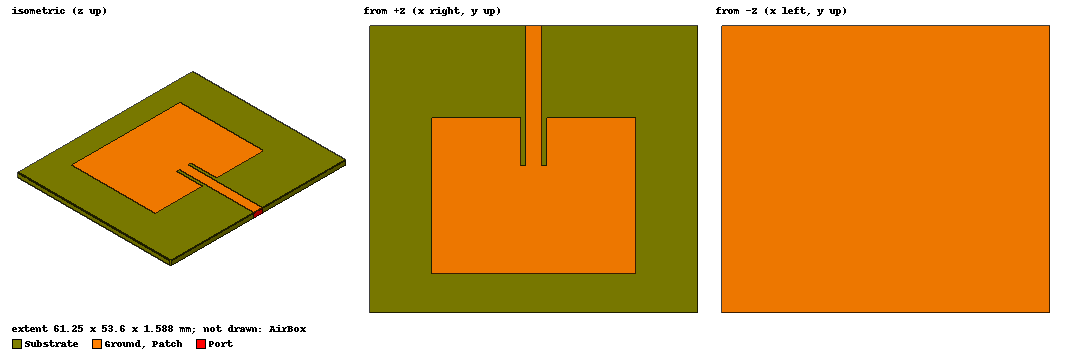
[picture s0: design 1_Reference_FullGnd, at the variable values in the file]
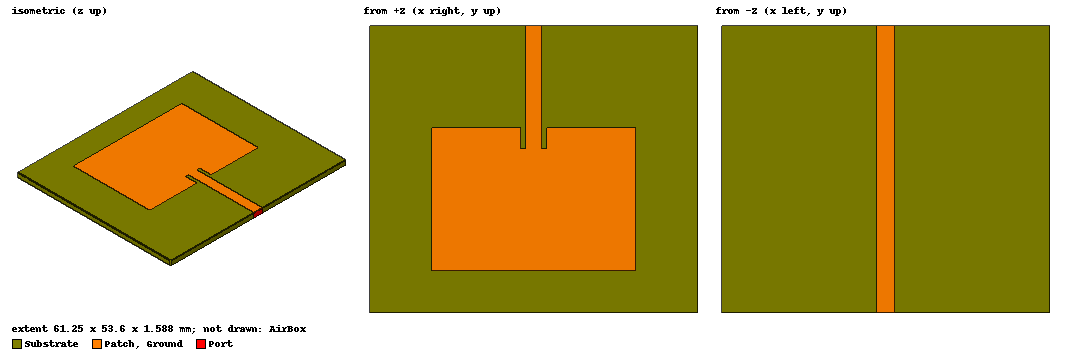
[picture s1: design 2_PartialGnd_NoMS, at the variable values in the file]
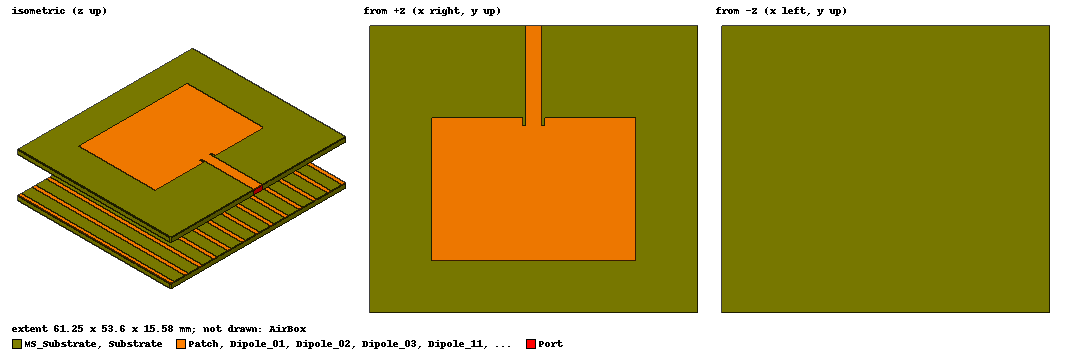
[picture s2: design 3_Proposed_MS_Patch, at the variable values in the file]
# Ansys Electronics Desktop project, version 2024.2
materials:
  vacuum: permittivity=1
  FR4_epoxy: permittivity=4.4 dielectric_loss_tangent=0.02

design 1_Reference_FullGnd (HFSS, HFSS Hybrid Modal Network, model units mm)
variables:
  sub_w = 61.25mm
  sub_l = 53.6mm
  h_sub = 1.588mm
  patch_w = 38mm
  patch_l = 29.3mm
  feed_w = 3mm
  feed_l = 17.1mm
  inset_depth = 9mm
  inset_gap = 1mm
  gnd_w = 3.2mm
  ms_gap = 12.4mm
  ms_h = 1.588mm
  y_port = 31.75mm
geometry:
  Substrate [FR4_epoxy] = box(corner=(-sub_w/2, y_port - sub_l, 0mm), size=(sub_w, sub_l, h_sub))
  Ground = rectangle(corner=(-sub_w/2, y_port - sub_l, 0mm), x_size=sub_w, y_size=sub_l)
  Patch = polyline(z=h_sub, xy: (-feed_w/2, y_port) (-feed_w/2, y_port - feed_l - inset_depth) (-feed_w/2 - inset_gap, y_port - feed_l - inset_depth) (-feed_w/2 - inset_gap, y_port - feed_l) (-patch_w/2, y_port - feed_l) (-patch_w/2, y_port - feed_l - patch_l) (patch_w/2, y_port - feed_l - patch_l) (patch_w/2, y_port - feed_l) (feed_w/2 + inset_gap, y_port - feed_l) (feed_w/2 + inset_gap, y_port - feed_l - inset_depth) (feed_w/2, y_port - feed_l - inset_depth) (feed_w/2, y_port) (-feed_w/2, y_port), closed, covered)
  Port = polyline(y=y_port, xz: (-feed_w/2, 0mm) (feed_w/2, 0mm) (feed_w/2, h_sub) (-feed_w/2, h_sub) (-feed_w/2, 0mm), closed, covered)
  AirBox [vacuum] = box(corner=(-61.85338mm, -53.07838mm, -31.22838mm), size=(123.70676mm, 116.05676mm, 64.04476mm))
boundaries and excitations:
  PerfE_Patch: Perfect E Objects=Patch
  PerfE_Ground: Perfect E Objects=Ground
  Rad1: Radiation Objects=AirBox
  1: Lumped Port Objects=Port LumpedPortType=Modal Modes{Mode1{IntLine{(0, 31.75, 0) -> (0, 31.75, 1.588)} CharImp=Zpi RenormImp=50ohm}} Impedance=50ohm
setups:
  Setup1: HfssDriven Frequency=2.4GHz MaxDeltaS=0.02 MaximumPasses=15 MinimumPasses=1 MinimumConvergedPasses=1 PercentRefinement=30 BasisOrder=1 PortAccuracy=2 DrivenSolverType="Direct Solver"
    sweep Sweep1: 1GHz to 4GHz step 0.01GHz; Type=Interpolating InterpTolerance=0.5 InterpMaxSolns=250 InterpUsePortImped=false
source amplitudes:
  1:1: 1W 0deg
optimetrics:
  Sweep_Feed_Length: Parametric Sim._Setups=[Setup1]
    sweep feed_l: LIN 13.1mm 21.1mm 1mm
  Sweep_Inset_Depth: Parametric Sim._Setups=[Setup1]
    sweep inset_depth: LIN 0.5mm 5.5mm 1mm
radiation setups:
  Infinite Sphere1: Infinite Sphere Theta=-180deg..180deg step 2deg Phi=-180deg..180deg step 2deg
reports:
  S11: dB(S(1,1)) vs Freq on Setup1 : Sweep1; markers m1 at 2.39GHz
  S11_Optimetrics_Curves: dB(S(1,1)) vs Freq on Setup1 : Sweep1 [feed_l=all inset_depth=all]
  VSWR: VSWR(1) vs Freq on Setup1 : Sweep1
  Gain vs Theta: dB(GainTotal) vs Theta on Setup1 : LastAdaptive, Infinite Sphere1 [Phi=0deg,90deg Freq=2.4GHz]; markers m1 at 0deg
  Antenna Params Table: dB10(PeakDirectivity), dB10(PeakGain), dB10(PeakRealizedGain), RadiationEfficiency, TotalEfficiency vs Freq on Setup1 : LastAdaptive [Freq=2.4GHz]

design 2_PartialGnd_NoMS (HFSS, HFSS Hybrid Modal Network, model units mm)
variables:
  sub_w = 61.25mm
  sub_l = 53.6mm
  h_sub = 1.588mm
  patch_w = 38mm
  patch_l = 26.8mm
  feed_w = 3mm
  feed_l = 19mm
  inset_depth = 4mm
  inset_gap = 1mm
  gnd_w = 3.2mm
  ms_gap = 12.4mm
  ms_h = 1.588mm
  y_port = 32.4mm
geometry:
  Substrate [FR4_epoxy] = box(corner=(-sub_w/2, y_port - sub_l, 0mm), size=(sub_w, sub_l, h_sub))
  Ground = rectangle(corner=(-gnd_w/2, y_port - sub_l, 0mm), x_size=gnd_w, y_size=sub_l)
  Patch = polyline(z=h_sub, xy: (-feed_w/2, y_port) (-feed_w/2, y_port - feed_l - inset_depth) (-feed_w/2 - inset_gap, y_port - feed_l - inset_depth) (-feed_w/2 - inset_gap, y_port - feed_l) (-patch_w/2, y_port - feed_l) (-patch_w/2, y_port - feed_l - patch_l) (patch_w/2, y_port - feed_l - patch_l) (patch_w/2, y_port - feed_l) (feed_w/2 + inset_gap, y_port - feed_l) (feed_w/2 + inset_gap, y_port - feed_l - inset_depth) (feed_w/2, y_port - feed_l - inset_depth) (feed_w/2, y_port) (-feed_w/2, y_port), closed, covered)
  Port = polyline(y=y_port, xz: (-feed_w/2, 0mm) (feed_w/2, 0mm) (feed_w/2, h_sub) (-feed_w/2, h_sub) (-feed_w/2, 0mm), closed, covered)
  AirBox [vacuum] = box(corner=(-61.85338mm, -52.42838mm, -31.22838mm), size=(123.70676mm, 116.05676mm, 64.04476mm))
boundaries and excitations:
  PerfE_Patch: Perfect E Objects=Patch
  PerfE_Ground: Perfect E Objects=Ground
  Rad1: Radiation Objects=AirBox
  1: Lumped Port Objects=Port LumpedPortType=Modal Modes{Mode1{IntLine{(0, 32.4, 0) -> (0, 32.4, 1.588)} CharImp=Zpi RenormImp=50ohm}} Impedance=50ohm
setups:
  Setup1: HfssDriven Frequency=2.4GHz MaxDeltaS=0.02 MaximumPasses=15 MinimumPasses=1 MinimumConvergedPasses=1 PercentRefinement=30 BasisOrder=1 PortAccuracy=2 DrivenSolverType="Direct Solver"
    sweep Sweep1: 1GHz to 4GHz step 0.01GHz; Type=Interpolating InterpTolerance=0.5 InterpMaxSolns=250 InterpUsePortImped=false
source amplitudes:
  1:1: 1W 0deg
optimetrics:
  Sweep_Feed_Length: Parametric Sim._Setups=[Setup1]
    sweep feed_l: LIN 13.1mm 21.1mm 1mm
  Sweep_Inset_Depth: Parametric Sim._Setups=[Setup1]
    sweep inset_depth: LIN 0.5mm 5.5mm 1mm
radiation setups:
  Infinite Sphere1: Infinite Sphere Theta=-180deg..180deg step 2deg Phi=-180deg..180deg step 2deg
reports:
  S11: dB(S(1,1)) vs Freq on Setup1 : Sweep1; markers m1 at 2.65GHz
  S11_Optimetrics_Curves: dB(S(1,1)) vs Freq on Setup1 : Sweep1 [feed_l=all inset_depth=all]
  VSWR: VSWR(1) vs Freq on Setup1 : Sweep1
  Gain vs Theta: dB(GainTotal) vs Theta on Setup1 : LastAdaptive, Infinite Sphere1 [Phi=0deg,90deg Freq=2.4GHz]; markers m1 at 0deg
  Antenna Params Table: dB10(PeakDirectivity), dB10(PeakGain), dB10(PeakRealizedGain), RadiationEfficiency, TotalEfficiency vs Freq on Setup1 : LastAdaptive [Freq=2.4GHz]

design 3_Proposed_MS_Patch (HFSS, HFSS Hybrid Modal Network, model units mm)
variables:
  sub_w = 61.25mm
  sub_l = 53.6mm
  h_sub = 1.588mm
  patch_w = 38mm
  patch_l = 26.8mm
  feed_w = 3mm
  feed_l = 17.1mm
  inset_depth = 1.5mm
  inset_gap = 0.5mm
  gnd_w = 3.2mm
  ms_gap = 12.4mm
  ms_h = 1.588mm
  y_port = 30.5mm
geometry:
  Substrate [FR4_epoxy] = box(corner=(-sub_w/2, y_port - sub_l, 0mm), size=(sub_w, sub_l, h_sub))
  Ground = rectangle(corner=(-gnd_w/2, y_port - sub_l, 0mm), x_size=gnd_w, y_size=sub_l)
  Patch = polyline(z=h_sub, xy: (-feed_w/2, y_port) (-feed_w/2, y_port - feed_l - inset_depth) (-feed_w/2 - inset_gap, y_port - feed_l - inset_depth) (-feed_w/2 - inset_gap, y_port - feed_l) (-patch_w/2, y_port - feed_l) (-patch_w/2, y_port - feed_l - patch_l) (patch_w/2, y_port - feed_l - patch_l) (patch_w/2, y_port - feed_l) (feed_w/2 + inset_gap, y_port - feed_l) (feed_w/2 + inset_gap, y_port - feed_l - inset_depth) (feed_w/2, y_port - feed_l - inset_depth) (feed_w/2, y_port) (-feed_w/2, y_port), closed, covered)
  MS_Substrate [FR4_epoxy] = box(corner=(-sub_w/2, y_port - sub_l, -ms_gap - ms_h), size=(sub_w, sub_l, ms_h))
  Dipole_01 = rectangle(corner=(-30.625mm, y_port - sub_l, -ms_gap), x_size=1.25mm, y_size=sub_l)
  Dipole_02 = rectangle(corner=(-25.625mm, y_port - sub_l, -ms_gap), x_size=1.25mm, y_size=sub_l)
  Dipole_03 = rectangle(corner=(-20.625mm, y_port - sub_l, -ms_gap), x_size=1.25mm, y_size=sub_l)
  Dipole_04 = rectangle(corner=(-15.625mm, y_port - sub_l, -ms_gap), x_size=1.25mm, y_size=sub_l)
  Dipole_05 = rectangle(corner=(-10.625mm, y_port - sub_l, -ms_gap), x_size=1.25mm, y_size=sub_l)
  Dipole_06 = rectangle(corner=(-5.625mm, y_port - sub_l, -ms_gap), x_size=1.25mm, y_size=sub_l)
  Dipole_07 = rectangle(corner=(-0.625mm, y_port - sub_l, -ms_gap), x_size=1.25mm, y_size=sub_l)
  Dipole_08 = rectangle(corner=(4.375mm, y_port - sub_l, -ms_gap), x_size=1.25mm, y_size=sub_l)
  Dipole_09 = rectangle(corner=(9.375mm, y_port - sub_l, -ms_gap), x_size=1.25mm, y_size=sub_l)
  Dipole_10 = rectangle(corner=(14.375mm, y_port - sub_l, -ms_gap), x_size=1.25mm, y_size=sub_l)
  Dipole_11 = rectangle(corner=(19.375mm, y_port - sub_l, -ms_gap), x_size=1.25mm, y_size=sub_l)
  Dipole_12 = rectangle(corner=(24.375mm, y_port - sub_l, -ms_gap), x_size=1.25mm, y_size=sub_l)
  Dipole_13 = rectangle(corner=(29.375mm, y_port - sub_l, -ms_gap), x_size=1.25mm, y_size=sub_l)
  Port = polyline(y=y_port, xz: (-feed_w/2, 0mm) (feed_w/2, 0mm) (feed_w/2, h_sub) (-feed_w/2, h_sub) (-feed_w/2, 0mm), closed, covered)
  AirBox [vacuum] = box(corner=(-61.85338mm, -54.32838mm, -45.21638mm), size=(123.70676mm, 116.05676mm, 78.03276mm))
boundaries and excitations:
  PerfE_Patch: Perfect E Objects=Patch
  PerfE_Ground: Perfect E Objects=Ground
  PerfE_MS: Perfect E Objects=[Dipole_01, Dipole_02, Dipole_03, Dipole_04, Dipole_05, Dipole_06, Dipole_07, Dipole_08, Dipole_09, Dipole_10..Dipole_13]
  Rad1: Radiation Objects=AirBox
  1: Lumped Port Objects=Port LumpedPortType=Modal Modes{Mode1{IntLine{(0, 30.5, 0) -> (0, 30.5, 1.588)} CharImp=Zpi RenormImp=50ohm}} Impedance=50ohm
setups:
  Setup1: HfssDriven Frequency=2.4GHz MaxDeltaS=0.02 MaximumPasses=15 MinimumPasses=1 MinimumConvergedPasses=1 PercentRefinement=30 BasisOrder=1 PortAccuracy=2 DrivenSolverType="Direct Solver"
    sweep Sweep1: 1GHz to 4GHz step 0.01GHz; Type=Interpolating InterpTolerance=0.5 InterpMaxSolns=250 InterpUsePortImped=false
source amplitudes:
  1:1: 1W 0deg
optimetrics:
  Sweep_Feed_Length: Parametric Sim._Setups=[Setup1]
    sweep feed_l: LIN 13.1mm 21.1mm 1mm
  Sweep_Inset_Depth: Parametric Sim._Setups=[Setup1]
    sweep inset_depth: LIN 0.5mm 5.5mm 1mm
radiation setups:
  Infinite Sphere1: Infinite Sphere Theta=-180deg..180deg step 2deg Phi=-180deg..180deg step 2deg
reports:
  S11: dB(S(1,1)) vs Freq on Setup1 : Sweep1; markers m1 at 2.38GHz, MY1 at y=-10.0452
  S11_Optimetrics_Curves: dB(S(1,1)) vs Freq on Setup1 : Sweep1 [feed_l=all inset_depth=all]
  VSWR: VSWR(1) vs Freq on Setup1 : Sweep1
  Gain vs Theta: dB(GainTotal) vs Theta on Setup1 : LastAdaptive, Infinite Sphere1 [Phi=0deg,90deg Freq=2.4GHz]; markers m1 at 0deg
  Antenna Params Table: dB10(PeakDirectivity), dB10(PeakGain), dB10(PeakRealizedGain), RadiationEfficiency, TotalEfficiency vs Freq on Setup1 : LastAdaptive [Freq=2.4GHz]
  Gain Plot 1: dB(GainTotal) vs Phi, Theta on Setup1 : LastAdaptive, Infinite Sphere1 [Freq=2.4GHz feed_l=13.1mm inset_depth=0.5mm]
